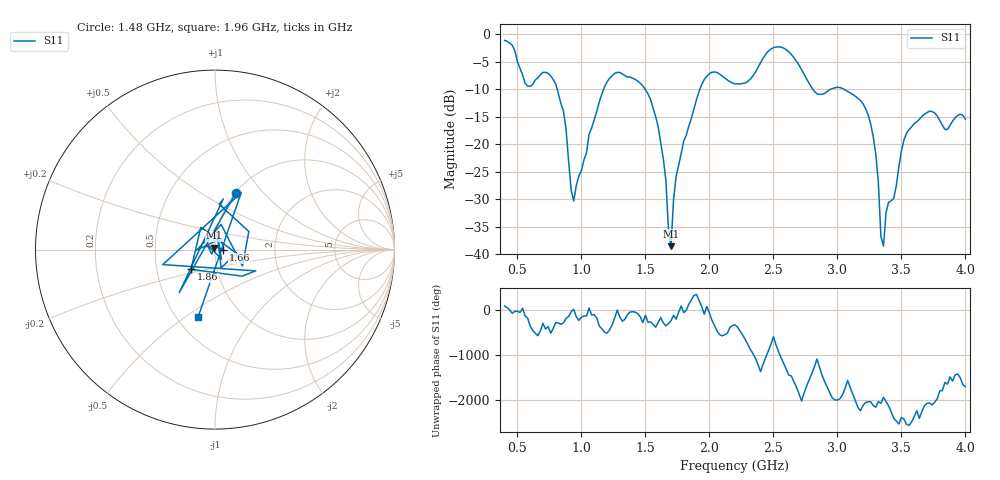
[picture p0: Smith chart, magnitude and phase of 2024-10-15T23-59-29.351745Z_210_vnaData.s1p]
! Created with skrf (http://scikit-rf.org).
# Hz S RI R 50.0
!freq ReS11 ImS11
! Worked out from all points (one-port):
!   181 points, 400 MHz to 4 GHz, reference 50 ohm
!   lowest |S11| = -38.5 dB at 1.7 GHz (marker M1), VSWR 1.02, Z = 49.6 + j1.11 ohm
!   |S11| at or under -10 dB: 810.5 MHz to 1.174 GHz (363.3 MHz wide, 36.6 % of centre); 1.497 GHz to 1.926 GHz (429.4 MHz wide, 25.1 % of centre); 3.049 GHz to end of sweep (the widest 3 of 4)
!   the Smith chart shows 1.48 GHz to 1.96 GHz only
!   S11 on the Smith chart (normalised r, x): 1.48 GHz: 1.00, +0.72; 1.66 GHz: 1.10, -0.00; 1.86 GHz: 0.75, -0.17; 1.96 GHz: 0.64, -0.56
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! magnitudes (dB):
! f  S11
! 400 MHz  -1.2
! 580 MHz  -9.4
! 760 MHz  -7.6
! 860 MHz  -14.0
! 940 MHz  -30.3
! 1.16 GHz  -10.9
! 1.3 GHz  -7.0
! 1.48 GHz  -9.4
! 1.6 GHz  -16.8
! 1.66 GHz  -26.6
! 1.68 GHz  -35.5
! 1.7 GHz  -38.5
! 1.72 GHz  -30.1
! 1.76 GHz  -23.8
! 1.86 GHz  -15.2
! 1.96 GHz  -8.3
! 2.2 GHz  -9.1
! 2.5 GHz  -2.5
! 2.66 GHz  -4.3
! 2.84 GHz  -10.8
! 3.1 GHz  -10.7
! 3.26 GHz  -16.3
! 3.3 GHz  -21.8
! 3.34 GHz  -36.8
! 3.36 GHz  -38.5
! 3.38 GHz  -32.4
! 3.56 GHz  -17.4
! 4 GHz  -15.4
